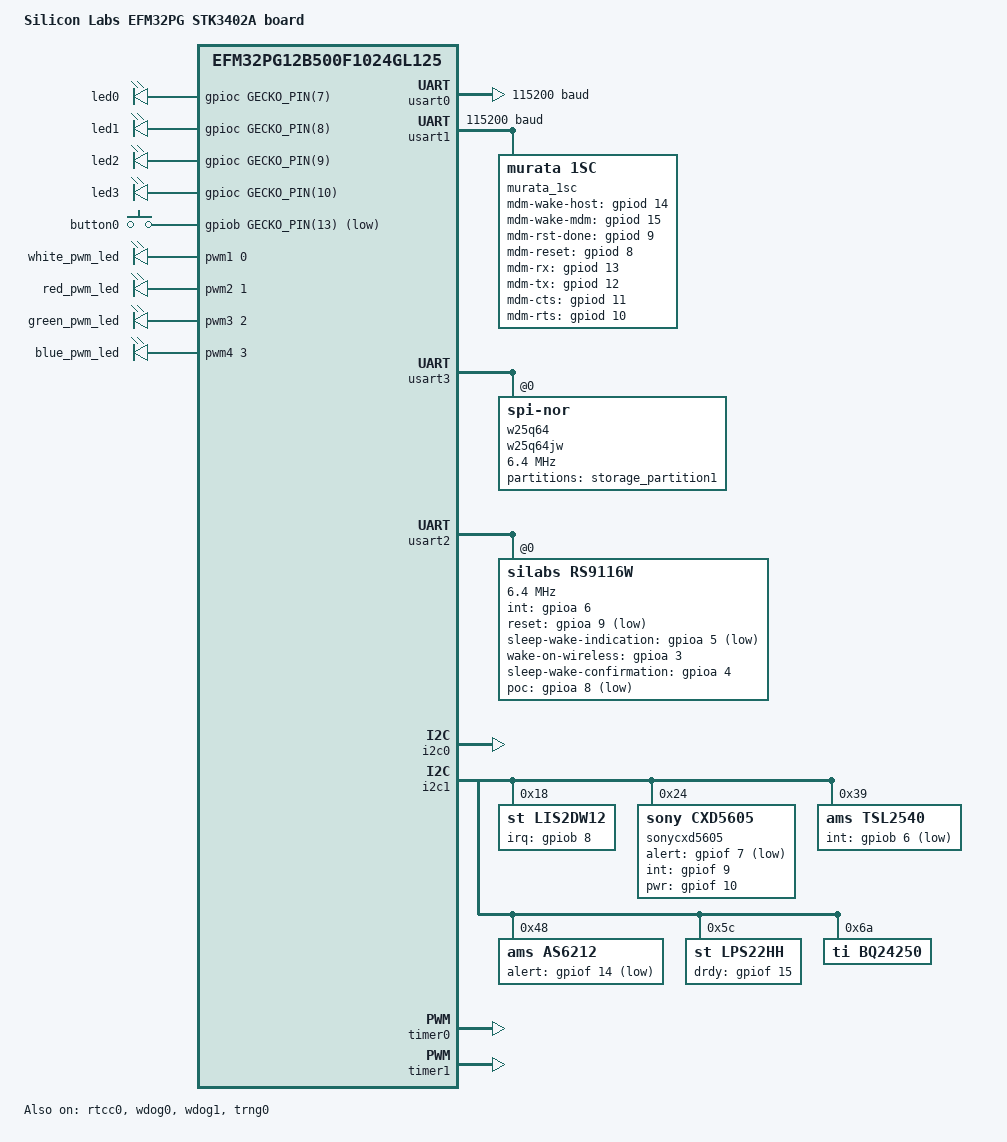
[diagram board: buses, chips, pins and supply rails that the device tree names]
/*
 * Copyright (c) 2017 Christian Taedcke
 * Copyright (c) 2019 Lemonbeat GmbH
 * Copyright (c) 2022 T-Mobile USA, Inc.
 *
 * SPDX-License-Identifier: Apache-2.0
 */

/dts-v1/;
#include <silabs/efm32pg12b500f1024gl125.dtsi>
#include <dt-bindings/pwm/pwm.h>
#include "dts/arm/silabs/tmo_dev_edge-pinctrl.dtsi"

/ {
    model = "Silicon Labs EFM32PG STK3402A board";
    compatible = "tmo,dev_edge";
    
    chosen {
        zephyr,console = &usart0;
        zephyr,shell-uart = &usart0;
        zephyr,sram = &sram0;
        zephyr,flash = &flash0;
        zephyr,sflash = &w25q64;
        watchdog0 = &wdog0;
        watchdog1 = &wdog1;
    };

    /* These aliases are provided for compatibility with samples */
    aliases {
        led0 = &led0;
        led1 = &led1;
        led2 = &led2;
        led3 = &led3;
        sw0 = &button0;
        modem = &usart1;
        pwm-buzzer = &pwm0;        
        pwm-led0 = &white_pwm_led;
        pwm-led1 = &red_pwm_led;
        pwm-led2 = &green_pwm_led;
        pwm-led3 = &blue_pwm_led;
        white-led = &led0;
        red-led = &led1;
        green-led = &led2;
        blue-led = &led3;
        white-pwm-led = &white_pwm_led;
        red-pwm-led = &red_pwm_led;
        green-pwm-led = &green_pwm_led;
        blue-pwm-led = &blue_pwm_led;
    };

    leds {
        compatible = "gpio-leds";

        led0: led_0 {
            gpios = <&gpioc GECKO_PIN(7) GPIO_ACTIVE_HIGH>;
        };
        led1: led_1 {
            gpios = <&gpioc GECKO_PIN(8) GPIO_ACTIVE_HIGH>;
        };
        led2: led_2 {
            gpios = <&gpioc GECKO_PIN(9) GPIO_ACTIVE_HIGH>;
        };
        led3: led_3 {
            gpios = <&gpioc GECKO_PIN(10) GPIO_ACTIVE_HIGH>;
        };
    };

    buttons {
        compatible = "gpio-keys";
        button0: button_0 {
            gpios = <&gpiob GECKO_PIN(13) GPIO_ACTIVE_LOW>;
        };
    };

    pwmleds {
        compatible = "pwm-leds";
        white_pwm_led: white_pwm_led {
            pwms = <&pwm1 0 PWM_MSEC(20) PWM_POLARITY_NORMAL>;
        };
        red_pwm_led: red_pwm_led {
            pwms = <&pwm2 1 PWM_MSEC(20) PWM_POLARITY_NORMAL>;
        };
        green_pwm_led: green_pwm_led {
            pwms = <&pwm3 2 PWM_MSEC(20) PWM_POLARITY_NORMAL>;
        };
        blue_pwm_led: blue_pwm_led {
            pwms = <&pwm4 3 PWM_MSEC(20) PWM_POLARITY_NORMAL>;
        };
    };

    regulator_batt: regulator-bat-chg {
        regulator-name = "bq24250rge";
        regulator-boot-on;
    };
};

&cpu0 {
    clock-frequency = <38400000>;
};

&usart0 {
    current-speed = <115200>;
    status = "okay";   
    pinctrl-0 = <&usart0_default>;
    pinctrl-names = "default";
};

&usart1 {
    current-speed   = <115200>;
    location-rx     = <GECKO_LOCATION(20) GECKO_PORT_D GECKO_PIN(13)>;
    location-tx     = <GECKO_LOCATION(20) GECKO_PORT_D GECKO_PIN(12)>;
    location-cts    = <GECKO_LOCATION(15) GECKO_PORT_D GECKO_PIN(11)>;    
    location-rts    = <GECKO_LOCATION(13) GECKO_PORT_D GECKO_PIN(10)>;
//    hw-flow-control;
    status = "okay";
    
    murata_1sc: murata_1sc {
        compatible = "murata,1sc";
        mdm-wake-host-gpios = <&gpiod 14 GPIO_ACTIVE_HIGH>;
        mdm-wake-mdm-gpios  = <&gpiod 15 GPIO_ACTIVE_HIGH>;
        mdm-rst-done-gpios  = <&gpiod 9 GPIO_ACTIVE_HIGH>;
        mdm-reset-gpios     = <&gpiod 8 GPIO_ACTIVE_HIGH>;
	mdm-rx-gpios        = <&gpiod 13 GPIO_ACTIVE_HIGH>;
	mdm-tx-gpios        = <&gpiod 12 GPIO_ACTIVE_HIGH>;
	mdm-cts-gpios       = <&gpiod 11 GPIO_ACTIVE_HIGH>;
	mdm-rts-gpios       = <&gpiod 10 GPIO_ACTIVE_HIGH>;
        status = "okay";
    };
};

&usart3 {
    compatible = "silabs,gecko-spi-usart";    
    location-clk = <GECKO_LOCATION(16) GECKO_PORT_C GECKO_PIN(0)>;
    location-rx = <GECKO_LOCATION(19) GECKO_PORT_C GECKO_PIN(2)>;
    location-tx = <GECKO_LOCATION(21) GECKO_PORT_C GECKO_PIN(3)>;
    cs-gpios = <&gpioc 1 GPIO_ACTIVE_LOW>;
    status = "okay";
    #address-cells = <1>;
    #size-cells = <0>;

    w25q64: w25q64jw@0 {
             compatible = "jedec,spi-nor";
             reg = <0>;
             spi-max-frequency = <6400000>;
             // note size is in bits
             size = <0x04000000>;
             jedec-id = [ef 60 17];
             sfdp-bfp = [ 
                    e5 20 f9 ff ff ff ff 07 44 eb 08 6b 08 3b 42 bb
                    fe ff ff ff ff ff 00 00 ff ff 40 eb 0c 20 0f 52
                    10 d8 00 00 36 02 a6 00 82 ea 14 c9 e9 63 76 33
                    7a 75 7a 75 f7 a2 d5 5c 19 f7 4d ff e9 30 f8 80
             ];
            status = "okay";
            partitions {
                    compatible = "fixed-partitions";
                    #address-cells = <1>;
                    #size-cells = <1>;
                    // Set of storage for entire of the 4096Kb of flash
                    storage_partition1: partition@0 {
                            reg = <0x00000000 0x00800000>;
                    };
            };
     };
};               

&usart2 {
    compatible = "silabs,gecko-spi-usart";

    location-clk = <GECKO_LOCATION(3) GECKO_PORT_I GECKO_PIN(0)>;
    location-rx = <GECKO_LOCATION(6) GECKO_PORT_I GECKO_PIN(2)>;
    location-tx = <GECKO_LOCATION(8) GECKO_PORT_I GECKO_PIN(3)>;
    cs-gpios = <&gpioi 1 GPIO_ACTIVE_LOW>;
    status = "okay";
    #address-cells = <1>;
    #size-cells = <0>;

    rs9116w: rs9116w@0 {
        compatible = "silabs,rs9116w";
        reg = <0>;
        spi-max-frequency = <6400000>;
        int-gpios = <&gpioa 6 GPIO_ACTIVE_HIGH>;   // input
        reset-gpios = <&gpioa 9 GPIO_ACTIVE_LOW>;  // output should be initialized LOW
        sleep-wake-indication-gpios = <&gpioa 5 GPIO_ACTIVE_LOW>;  // input
        wake-on-wireless-gpios = <&gpioa 3 GPIO_ACTIVE_HIGH>;  // input
        sleep-wake-confirmation-gpios = <&gpioa 4 GPIO_ACTIVE_HIGH>; // output should be initialized HIGH
        poc-gpios = <&gpioa 8 GPIO_ACTIVE_LOW>;    // output should be initialized LOW
        status = "okay";
    };
};

/* Not implemented yet
&leuart0 {
    current-speed = <9600>;
    status = "okay";
    pinctrl-0 = <&leuart0_default>;
    pinctrl-names = "default";
};
 */

&i2c0 {
    location-sda = <GECKO_LOCATION(1) GECKO_PORT_A GECKO_PIN(1)>;
    location-scl = <GECKO_LOCATION(31) GECKO_PORT_A GECKO_PIN(0)>;
    status = "okay";
};

&i2c1 {
    location-sda = <GECKO_LOCATION(12) GECKO_PORT_J GECKO_PIN(15)>;
    location-scl = <GECKO_LOCATION(10) GECKO_PORT_J GECKO_PIN(14)>;
    status = "okay";

    /* ST Microelectronics LIS2DW12 accelerometer */
    lis2dw12: lis2dw12@18 {
        compatible = "st,lis2dw12";
        reg = <0x18 0x4>;
        status = "okay";
        // Note int2 is not used
        irq-gpios =  <&gpiob 8 GPIO_ACTIVE_HIGH>;
    };

    /* Sony GNSS reciever */
    sonycxd5605: sonycxd5605@24 {
        compatible = "sony,cxd5605";
        reg = <0x24 0x4>;
        status = "okay";
        alert-gpios = <&gpiof 7 GPIO_ACTIVE_LOW>;
        int-gpios = <&gpiof 9 GPIO_ACTIVE_HIGH>;
	pwr-gpios = <&gpiof 10 GPIO_ACTIVE_HIGH>;
    };

    /* AMS Ambient Light Sensor */
    tsl2540: tsl2540@39 {
        compatible = "ams,tsl2540";
        reg = <0x39 0x4>;
        status = "okay";
        int-gpios = <&gpiob 6 GPIO_ACTIVE_LOW>;
    };

    /*AMS Temperature Sensor */
    as6212: as6212@48 {
        compatible = "ams,as6212";
        reg = <0x48 0x4>;
        status = "okay";
        alert-gpios = <&gpiof 14 GPIO_ACTIVE_LOW>;
    };

    /* ST Microelectronics LPS22HH pressure sensor */
    lps22hh: lps22hh@5c {
        compatible = "st,lps22hh";
        reg = <0x5c 0x4>;
        status = "okay";
        drdy-gpios =  <&gpiof 15 GPIO_ACTIVE_HIGH>;
    };

    /* TI Switched-Mode Li-Ion Battery Charger */
    bq24250: bq24250@6a {
        compatible = "ti,bq24250";
        reg = <0x6a 0x7>;
        status = "okay";
    };
};

&timer0 {   

    status = "okay";

    /* Buzzer */ 
    pwm0: pwm {
        compatible = "silabs,gecko-pwm";

        status = "okay";
        pin-location = <GECKO_LOCATION(16) GECKO_PORT_C GECKO_PIN(11)>;
        prescaler = <4>;
    };
};

&timer1 {
    status = "okay";

    /* White LED */
    pwm1: pwm {
        compatible = "silabs,gecko-pwm";

        status = "okay";
        pin-location = <GECKO_LOCATION(12) GECKO_PORT_C GECKO_PIN(7)>;
    };
    /* Red LED */
    pwm2: pwm {
        compatible = "silabs,gecko-pwm";

        status = "okay";
        pin-location = <GECKO_LOCATION(12) GECKO_PORT_C GECKO_PIN(8)>;
    };
    /* Green LED */
    pwm3: pwm {
        compatible = "silabs,gecko-pwm";

        status = "okay";
        pin-location = <GECKO_LOCATION(12) GECKO_PORT_C GECKO_PIN(9)>;
    };
    /* Blue LED */
    pwm4: pwm {
        compatible = "silabs,gecko-pwm";

        status = "okay";
        pin-location = <GECKO_LOCATION(12) GECKO_PORT_C GECKO_PIN(10)>;
    };
};

&rtcc0 {
    prescaler = <32768>;
    status = "okay";
};

&gpio {
    location-swo = <0>;
    status = "okay";
};

&gpioa {
    status = "okay";
};

&gpiob {
    status = "okay";
};

&gpioc {
    status = "okay";
};

&gpiod {
    status = "okay";
};

&gpiof {
    status = "okay";
};

&gpioi {
    status = "okay";
};

&gpioj {
    status = "okay";
};

&gpiok {
    status = "okay";
};

&wdog0 {
    status = "okay";
};

&wdog1 {
    status = "okay";
};

&flash0 {

    partitions {
        compatible = "fixed-partitions";
        #address-cells = <1>;
        #size-cells = <1>;

        /* Set 6Kb of storage at the end of the 1024Kb of flash */
        storage_partition: partition@fe800 {
            reg = <0x000fe800 0x00001800>;
        };

    };
};

&trng0 {
        status = "okay";
};
